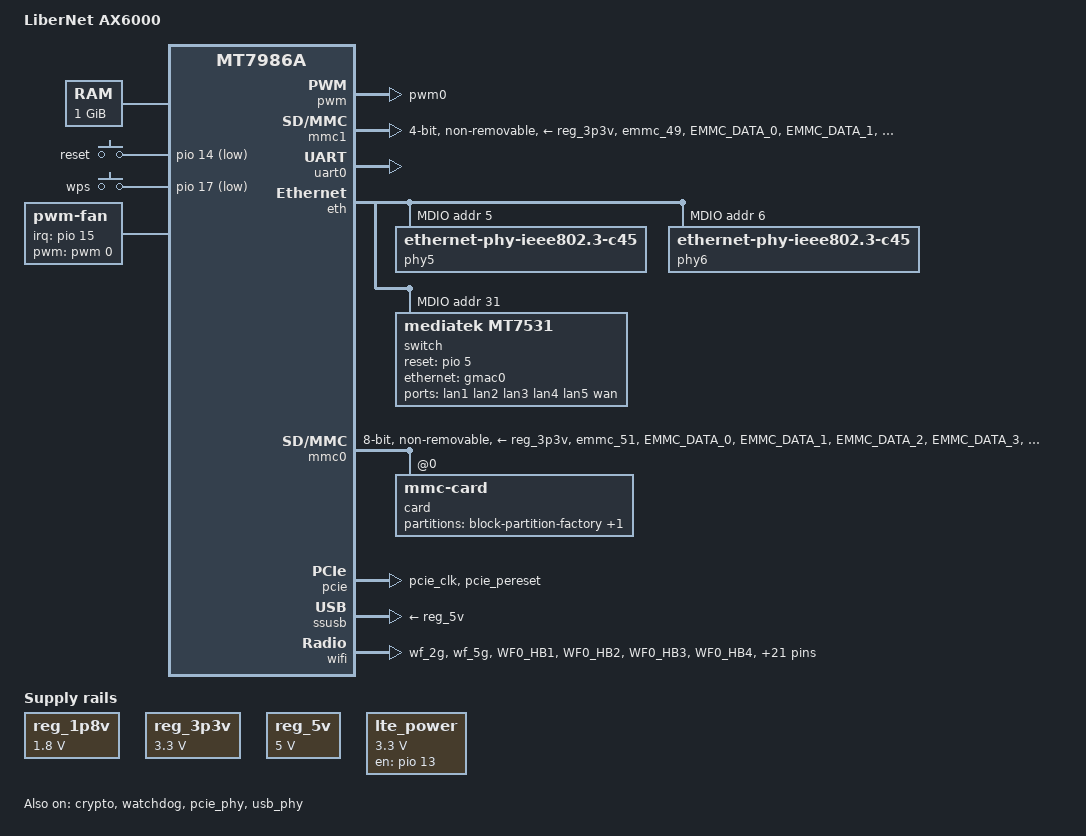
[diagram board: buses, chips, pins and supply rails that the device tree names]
// SPDX-License-Identifier: (GPL-2.0 OR MIT)

/dts-v1/;
#include <dt-bindings/input/input.h>
#include <dt-bindings/gpio/gpio.h>

#include <dt-bindings/clock/mt7986-clk.h>
#include <dt-bindings/interrupt-controller/arm-gic.h>

#include "mt7986a.dtsi"

/ {
	model = "LiberNet AX6000";
	compatible = "libernet,ax6000", "mediatek,mt7986a";

	aliases {
		serial0 = &uart0;
		label-mac-device = &gmac0;
	};

	chosen {
		stdout-path = "serial0:115200n8";
		bootargs-append = " root=/dev/fit0 rootwait pcie_aspm=off pcie_port_pm=off";
		rootdisk-emmc = <&emmc_rootdisk>;
	};

	memory@40000000 {
		reg = <0 0x40000000 0 0x40000000>;
	};

	reg_1p8v: regulator-1p8v {
		compatible = "regulator-fixed";
		regulator-name = "fixed-1.8V";
		regulator-min-microvolt = <1800000>;
		regulator-max-microvolt = <1800000>;
		regulator-boot-on;
		regulator-always-on;
	};

	reg_3p3v: regulator-3p3v {
		compatible = "regulator-fixed";
		regulator-name = "fixed-3.3V";
		regulator-min-microvolt = <3300000>;
		regulator-max-microvolt = <3300000>;
		regulator-boot-on;
		regulator-always-on;
	};

	reg_5v: regulator-5v {
		compatible = "regulator-fixed";
		regulator-name = "fixed-5V";
		regulator-min-microvolt = <5000000>;
		regulator-max-microvolt = <5000000>;
		regulator-boot-on;
		regulator-always-on;
	};

	lte_power: regulator-lte-power {
		compatible = "regulator-fixed";
		regulator-name = "lte_power";
		regulator-min-microvolt = <3300000>;
		regulator-max-microvolt = <3300000>;
		gpios = <&pio 13 GPIO_ACTIVE_HIGH>;
		enable-active-high;
		regulator-boot-on;
		regulator-always-on;
	};

	keys {
		compatible = "gpio-keys";

		reset {
			label = "reset";
			linux,code = <KEY_RESTART>;
			gpios = <&pio 14 GPIO_ACTIVE_LOW>;
		};

		wps {
			label = "wps";
			linux,code = <KEY_WPS_BUTTON>;
			gpios = <&pio 17 GPIO_ACTIVE_LOW>;
		};
	};



	fan: pwm-fan {
		compatible = "pwm-fan";
		#cooling-cells = <2>;
		cooling-levels = <0 5 10 15 20 25 30 35 40 45 50 55 60 65 70 75 80 85 90 95 100 105 110 115 120 125 130 135 140 145 150 155 160 165 170 175 180 185 190 195 200 205 210 215 220 225 230 235 240 245 250 255>;
		interrupt-parent = <&pio>;
		interrupts = <15 IRQ_TYPE_EDGE_RISING>;
		pulses-per-revolution = <2>;
		pwms = <&pwm 0 25000>;
		status = "okay";
	};
};

&pwm {
	pinctrl-names = "default";
	pinctrl-0 = <&pwm0_pins>;
	status = "okay";
};

&pio {
	mmc1_pins_default: mmc1-pins-default {
		mux {
			function = "emmc";
			groups = "emmc_49";
		};
		conf-cmd-dat {
			pins = "EMMC_DATA_0", "EMMC_DATA_1", "EMMC_DATA_2",
			       "EMMC_DATA_3", "EMMC_CMD";
			input-enable;
			drive-strength = <4>;
			mediatek,pull-up-adv = <1>;
		};
		conf-clk {
			pins = "EMMC_CK";
			drive-strength = <6>;
			mediatek,pull-down-adv = <2>;
		};
	};

	mmc1_pins_uhs: mmc1-uhs-pins {
		mux {
			function = "emmc";
			groups = "emmc_49";
		};
		conf-cmd-dat {
			pins = "EMMC_DATA_0", "EMMC_DATA_1", "EMMC_DATA_2",
			       "EMMC_DATA_3", "EMMC_CMD";
			input-enable;
			drive-strength = <4>;
			mediatek,pull-up-adv = <1>;
		};
		conf-clk {
			pins = "EMMC_CK";
			drive-strength = <6>;
			mediatek,pull-down-adv = <2>;
		};
	};

	soc {
		mmc1: mmc@11240000 {
			compatible = "mediatek,mt7986-mmc";
			reg = <0 0x11240000 0 0x1000>,
			      <0 0x11c70000 0 0x1000>;
			interrupts = <GIC_SPI 170 IRQ_TYPE_LEVEL_HIGH>;
			clocks = <&topckgen CLK_TOP_EMMC_250M_SEL>,
				 <&infracfg CLK_INFRA_MSDC_CK>,
				 <&infracfg CLK_INFRA_MSDC_HCK_CK>;
			clock-names = "source", "hclk", "source_cg";
			pinctrl-names = "default", "state_uhs";
			pinctrl-0 = <&mmc1_pins_default>;
			pinctrl-1 = <&mmc1_pins_uhs>;
			bus-width = <4>;
			max-frequency = <200000000>;
			no-mmc;
			no-sdio;
			non-removable;
			vmmc-supply = <&reg_3p3v>;
			vqmmc-supply = <&reg_3p3v>;
			status = "okay";
		};
	};
};

&crypto {
	status = "okay";
};

&uart0 {
	status = "okay";
};

&watchdog {
	status = "okay";
};

&eth {
	status = "okay";

	gmac0: mac@0 {
		compatible = "mediatek,eth-mac";
		reg = <0>;
		phy-mode = "2500base-x";

		fixed-link {
			speed = <2500>;
			full-duplex;
			pause;
		};
	};

	gmac1: mac@1 {
		compatible = "mediatek,eth-mac";
		reg = <1>;
		label = "lan6";
		phy-mode = "2500base-x";
		phy-handle = <&phy5>;
		nvmem-cells = <&macaddr_factory_40 0>;
		nvmem-cell-names = "mac-address";
	};

	mdio: mdio-bus {
		#address-cells = <1>;
		#size-cells = <0>;

		reset-gpios = <&pio 7 GPIO_ACTIVE_LOW>;
		reset-delay-us = <100000>;
		reset-post-delay-us = <100000>;

		phy5: phy@5 {
			compatible = "ethernet-phy-ieee802.3-c45";
			reg = <5>;
		};

		phy6: phy@6 {
			compatible = "ethernet-phy-ieee802.3-c45";
			reg = <6>;
		};

		switch: switch@1f {
			compatible = "mediatek,mt7531";
			reg = <31>;
			reset-gpios = <&pio 5 GPIO_ACTIVE_HIGH>;

			ports {
				#address-cells = <1>;
				#size-cells = <0>;

				port@0 {
					reg = <0>;
					label = "lan1";
				};

				port@1 {
					reg = <1>;
					label = "lan2";
				};

				port@2 {
					reg = <2>;
					label = "lan3";
				};

				port@3 {
					reg = <3>;
					label = "lan4";
				};

				port@4 {
					reg = <4>;
					label = "lan5";
				};

				port@5 {
					reg = <5>;
					label = "wan";
					phy-mode = "2500base-x";
					phy-handle = <&phy6>;
				};

				port@6 {
					reg = <6>;
					ethernet = <&gmac0>;
					phy-mode = "2500base-x";

					fixed-link {
						speed = <2500>;
						full-duplex;
						pause;
					};
				};
			};
		};
	};
};

&mmc0 {
	pinctrl-names = "default", "state_uhs";
	pinctrl-0 = <&mmc0_pins_default>;
	pinctrl-1 = <&mmc0_pins_uhs>;
	bus-width = <8>;
	max-frequency = <200000000>;
	cap-mmc-highspeed;
	mmc-hs200-1_8v;
	mmc-hs400-1_8v;
	hs400-ds-delay = <0x14014>;
	vmmc-supply = <&reg_3p3v>;
	vqmmc-supply = <&reg_1p8v>;
	non-removable;
	no-sd;
	no-sdio;
	status = "okay";

	card@0 {
		compatible = "mmc-card";
		reg = <0>;

		block {
			compatible = "block-device";
			partitions {
				block-partition-factory {
					partname = "factory";

					nvmem-layout {
						compatible = "fixed-layout";
						#address-cells = <1>;
						#size-cells = <1>;

						eeprom_factory_0: eeprom@0 {
								reg = <0x0000 0x1000>;
							};

							macaddr_factory_10: macaddr@10 {
								compatible = "mac-base";
								reg = <0x0010 0x0006>;
								#nvmem-cell-cells = <1>;
							};

							macaddr_factory_18: macaddr@18 {
								compatible = "mac-base";
								reg = <0x0018 0x0006>;
								#nvmem-cell-cells = <1>;
							};

							macaddr_factory_20: macaddr@20 {
								compatible = "mac-base";
								reg = <0x0020 0x0006>;
								#nvmem-cell-cells = <1>;
							};

							macaddr_factory_28: macaddr@28 {
								compatible = "mac-base";
								reg = <0x0028 0x0006>;
								#nvmem-cell-cells = <1>;
							};

							macaddr_factory_30: macaddr@30 {
								compatible = "mac-base";
								reg = <0x0030 0x0006>;
								#nvmem-cell-cells = <1>;
							};

							macaddr_factory_38: macaddr@38 {
								compatible = "mac-base";
								reg = <0x0038 0x0006>;
								#nvmem-cell-cells = <1>;
							};

							macaddr_factory_40: macaddr@40 {
								compatible = "mac-base";
								reg = <0x0040 0x0006>;
								#nvmem-cell-cells = <1>;
							};

							macaddr_factory_a: macaddr@a {
								compatible = "mac-base";
								reg = <0x000a 0x0006>;
								#nvmem-cell-cells = <1>;
							};

							macaddr_factory_4: macaddr@4 {
								compatible = "mac-base";
								reg = <0x0004 0x0006>;
								#nvmem-cell-cells = <1>;
							};
					};
				};

				emmc_rootdisk: block-partition-production {
					partname = "production";
				};
			};
		};
	};
};

&pcie {
	pinctrl-names = "default";
	pinctrl-0 = <&pcie_pins>;
	status = "okay";
};

&pcie_phy {
	status = "okay";
};

&ssusb {
	vusb33-supply = <&reg_3p3v>;
	vbus-supply = <&reg_5v>;
	status = "okay";
};

&usb_phy {
	status = "okay";
};

&cpu_thermal {
	/delete-node/ cooling-maps;
};

&cpu_trip_crit {
	temperature = <100000>;
};

&cpu_trip_hot {
	temperature = <85000>;
};

&cpu_trip_active_high {
	temperature = <75000>;
};

&cpu_trip_active_low {
	temperature = <55000>;
};

&wifi {
	status = "okay";
	pinctrl-names = "default";
	pinctrl-0 = <&wf_2g_5g_pins>;
	nvmem-cells = <&eeprom_factory_0>;
	nvmem-cell-names = "eeprom";
};

&pio {
	pcie_pins: pcie-pins {
		mux {
			function = "pcie";
			groups = "pcie_clk", "pcie_pereset";
		};
	};

	mdio1_pins: mdio1-pins {
		mux {
			function = "eth";
			groups = "mdio1";
		};
	};

	pwm0_pins: pwm0-pins {
		mux {
			function = "pwm";
			groups = "pwm0";
		};
	};

	wf_2g_5g_pins: wf_2g_5g-pins {
		mux {
			function = "wifi";
			groups = "wf_2g", "wf_5g";
		};
		conf {
			pins = "WF0_HB1", "WF0_HB2", "WF0_HB3", "WF0_HB4",
			       "WF0_HB0", "WF0_HB0_B", "WF0_HB5", "WF0_HB6",
			       "WF0_HB7", "WF0_HB8", "WF0_HB9", "WF0_HB10",
			       "WF0_TOP_CLK", "WF0_TOP_DATA", "WF1_HB1",
			       "WF1_HB2", "WF1_HB3", "WF1_HB4", "WF1_HB0",
			       "WF1_HB5", "WF1_HB6", "WF1_HB7", "WF1_HB8",
			       "WF1_TOP_CLK", "WF1_TOP_DATA";
			drive-strength = <4>;
		};
	};

	mmc0_pins_default: mmc0-pins-default {
		mux {
			function = "emmc";
			groups = "emmc_51";
		};
		conf-cmd-dat {
			pins = "EMMC_DATA_0", "EMMC_DATA_1", "EMMC_DATA_2",
			       "EMMC_DATA_3", "EMMC_DATA_4", "EMMC_DATA_5",
			       "EMMC_DATA_6", "EMMC_DATA_7", "EMMC_CMD";
			input-enable;
			drive-strength = <4>;
			mediatek,pull-up-adv = <1>;
		};
		conf-clk {
			pins = "EMMC_CK";
			drive-strength = <6>;
			mediatek,pull-down-adv = <2>;
		};
		conf-ds {
			pins = "EMMC_DSL";
			mediatek,pull-down-adv = <2>;
		};
		conf-rst {
			pins = "EMMC_RSTB";
			drive-strength = <4>;
			mediatek,pull-up-adv = <1>;
		};
	};

	mmc0_pins_uhs: mmc0-uhs-pins {
		mux {
			function = "emmc";
			groups = "emmc_51";
		};
		conf-cmd-dat {
			pins = "EMMC_DATA_0", "EMMC_DATA_1", "EMMC_DATA_2",
			       "EMMC_DATA_3", "EMMC_DATA_4", "EMMC_DATA_5",
			       "EMMC_DATA_6", "EMMC_DATA_7", "EMMC_CMD";
			input-enable;
			drive-strength = <4>;
			mediatek,pull-up-adv = <1>;
		};
		conf-clk {
			pins = "EMMC_CK";
			drive-strength = <6>;
			mediatek,pull-down-adv = <2>;
		};
		conf-ds {
			pins = "EMMC_DSL";
			mediatek,pull-down-adv = <2>;
		};
		conf-rst {
			pins = "EMMC_RSTB";
			drive-strength = <4>;
			mediatek,pull-up-adv = <1>;
		};
	};
};
